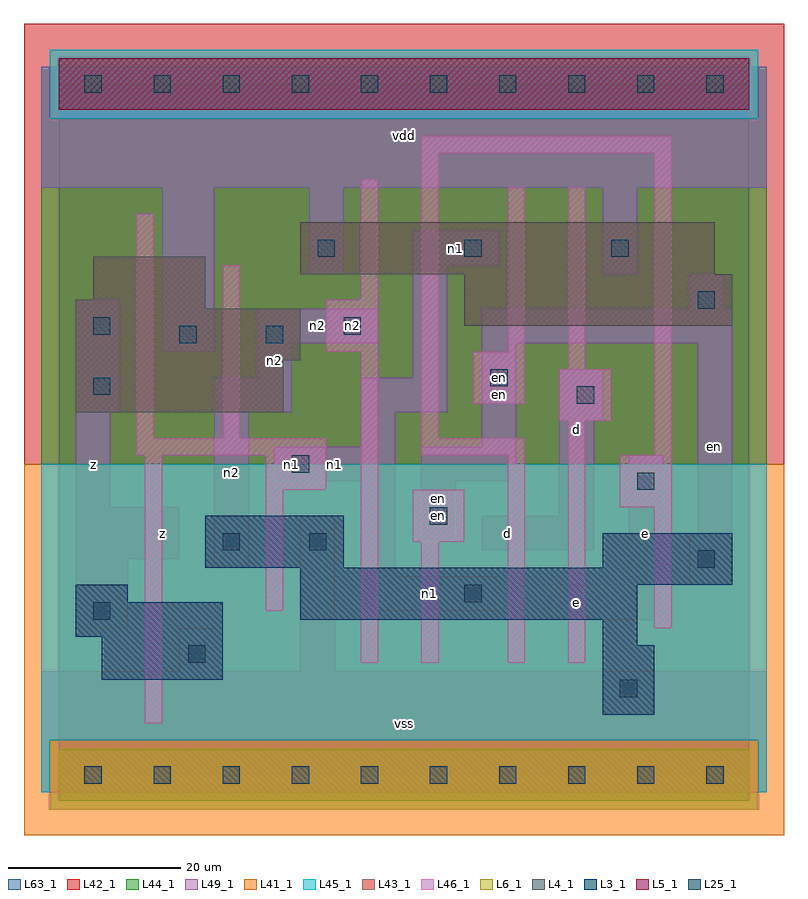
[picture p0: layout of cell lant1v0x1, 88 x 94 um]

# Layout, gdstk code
import gdstk
lib = gdstk.Library(unit=1e-6, precision=1e-09)
def R(c, l, rs):  # rectangles x0, y0, x1, y1
    for r in rs: c.add(gdstk.rectangle(r[:2], r[2:], *l))
def A(c, l, x, y, w, h, nx, ny, dx, dy):  # array of equal rectangles
    R(c, l, [(x+i*dx, y+j*dy, x+i*dx+w, y+j*dy+h) for i in range(nx) for j in range(ny)])
L3_1 = (3, 1)
L4_1 = (4, 1)
L5_1 = (5, 1)
L6_1 = (6, 1)
L25_1 = (25, 1)
L41_1 = (41, 1)
L42_1 = (42, 1)
L43_1 = (43, 1)
L44_1 = (44, 1)
L45_1 = (45, 1)
L46_1 = (46, 1)
L49_1 = (49, 1)
L63_1 = (63, 1)

lant1v0x1 = lib.new_cell('lant1v0x1')
R(lant1v0x1, L3_1, [(63,7,69,15), (5,11,19,16), (63,15,67,18), (2,16,19,20), (28,18,67,22), (2,20,8,22), (28,22,78,24), (17,24,33,30), (63,24,78,28)])
R(lant1v0x1, L4_1, [(2,42,26,48), (2,48,28,54), (47,52,78,58), (2,54,17,55), (4,55,17,60), (28,58,76,64)])
R(lant1v0x1, L5_1, [(0,77,80,83)])
R(lant1v0x1, L6_1, [(0,-3,80,3), (0,-3,80,3)])
A(lant1v0x1, L25_1, 3, -1, 2, 2, 10, 2, 8, 80)
A(lant1v0x1, L25_1, 30, 60, 2, 2, 3, 1, 17, 0)
R(lant1v0x1, L25_1, [(65,9,67,11), (15,13,17,15), (4,18,6,20), (47,20,49,22), (74,24,76,26), (19,26,21,28), (29,26,31,28), (43,29,45,31), (67,33,69,35), (27,35,29,37), (60,43,62,45), (4,44,6,46), (50,45,52,47), (14,50,16,52), (24,50,26,52), (4,51,6,53), (33,51,35,53), (74,54,76,56)])
R(lant1v0x1, L41_1, [(-4,-7,84,36)])
R(lant1v0x1, L42_1, [(-4,36,84,87)])
R(lant1v0x1, L43_1, [(0,-3,80,3), (63,7,69,15), (5,11,19,16), (63,15,67,18), (2,16,19,20), (28,18,67,22), (2,20,8,22), (28,22,78,24), (17,24,33,30), (63,24,78,28), (2,42,26,48), (2,48,28,54), (47,52,78,58), (2,54,17,55), (4,55,17,60), (28,58,76,64), (0,77,80,83)])
R(lant1v0x1, L44_1, [(-1,-4,81,4), (-2,36,82,76), (-2,76,-1,82), (81,76,82,82)])
R(lant1v0x1, L45_1, [(-2,-2,-1,4), (81,-2,82,4), (-2,4,82,36), (-1,76,81,84)])
R(lant1v0x1, L46_1, [(10,6,12,37), (35,13,37,49), (42,13,44,27), (52,13,54,37), (59,13,61,41), (69,17,71,31), (24,19,26,33), (41,27,47,33), (65,31,71,37), (24,33,31,37), (9,37,31,39), (42,37,54,39), (69,37,71,72), (9,39,11,65), (19,39,21,59), (42,39,44,72), (58,41,64,47), (48,43,54,49), (59,47,61,68), (31,49,37,55), (52,49,54,68), (35,55,37,69), (42,72,71,74)])
R(lant1v0x1, L49_1, [(-2,-2,82,12), (14,12,18,17), (28,12,32,30), (2,17,8,25), (57,18,70,22), (35,19,51,23), (66,22,70,37), (73,22,78,28), (35,23,39,34), (18,24,22,42), (2,25,14,31), (49,26,62,30), (42,27,46,34), (74,28,78,50), (58,30,62,41), (2,31,6,42), (25,34,39,38), (42,34,53,38), (35,38,39,42), (49,38,53,50), (58,41,63,47), (2,42,7,55), (18,42,27,46), (35,42,45,46), (23,46,27,50), (41,46,45,59), (12,49,18,68), (23,50,37,54), (49,50,78,54), (73,54,77,58), (29,58,33,68), (63,58,67,68), (41,59,51,63), (-2,68,82,82)])
R(lant1v0x1, L63_1, [(0,0,80,80)])
lant1v0x1.add(gdstk.Label('en', (44,30), layer=49, texttype=1))
lant1v0x1.add(gdstk.Label('n1', (27,36), layer=49, texttype=1))
lant1v0x1.add(gdstk.Label('n2', (34,52), layer=49, texttype=1))
lant1v0x1.add(gdstk.Label('en', (51,46), layer=49, texttype=1))
lant1v0x1.add(gdstk.Label('z', (4,36), layer=49, texttype=1))
lant1v0x1.add(gdstk.Label('z', (12,28), layer=49, texttype=1))
lant1v0x1.add(gdstk.Label('n2', (20,35), layer=49, texttype=1))
lant1v0x1.add(gdstk.Label('n2', (25,48), layer=49, texttype=1))
lant1v0x1.add(gdstk.Label('vss', (40,6), layer=49, texttype=1))
lant1v0x1.add(gdstk.Label('en', (44,32), layer=49, texttype=1))
lant1v0x1.add(gdstk.Label('n1', (32,36), layer=49, texttype=1))
lant1v0x1.add(gdstk.Label('n2', (30,52), layer=49, texttype=1))
lant1v0x1.add(gdstk.Label('vdd', (40,74), layer=49, texttype=1))
lant1v0x1.add(gdstk.Label('d', (52,28), layer=49, texttype=1))
lant1v0x1.add(gdstk.Label('n1', (43,21), layer=49, texttype=1))
lant1v0x1.add(gdstk.Label('e', (60,20), layer=49, texttype=1))
lant1v0x1.add(gdstk.Label('d', (60,40), layer=49, texttype=1))
lant1v0x1.add(gdstk.Label('en', (51,44), layer=49, texttype=1))
lant1v0x1.add(gdstk.Label('n1', (46,61), layer=49, texttype=1))
lant1v0x1.add(gdstk.Label('e', (68,28), layer=49, texttype=1))
lant1v0x1.add(gdstk.Label('en', (76,38), layer=49, texttype=1))

lib.write_gds('lant1v0x1.gds')
